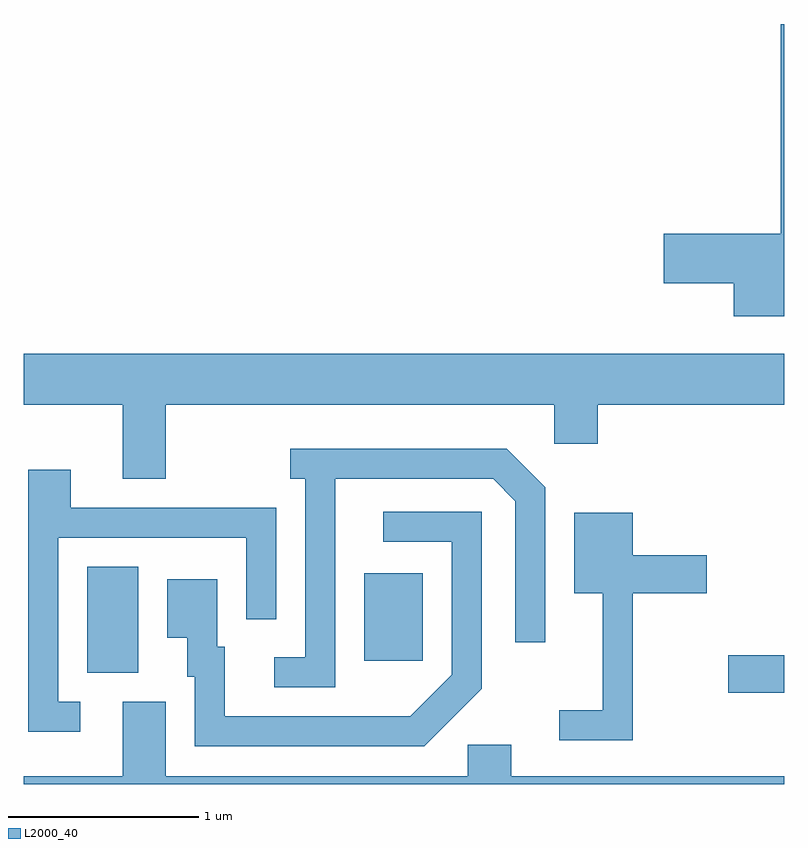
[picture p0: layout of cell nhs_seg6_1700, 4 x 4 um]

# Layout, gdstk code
import gdstk
lib = gdstk.Library(unit=1e-6, precision=1e-09)
def R(c, l, rs):  # rectangles x0, y0, x1, y1
    for r in rs: c.add(gdstk.rectangle(r[:2], r[2:], *l))
def P(c, l, *ps):  # polygons
    for p in ps: c.add(gdstk.Polygon(p, *l))
L2000_40 = (2000, 40)

nhs_seg6_1700 = lib.new_cell('nhs_seg6_1700')
R(nhs_seg6_1700, L2000_40, [(239.316,1650.641,239.611,1650.839), (235.946,1650.746,236.214,1651.304), (237.401,1650.811,237.709,1651.269)])
P(nhs_seg6_1700, L2000_40, [(239.611,1654.158),(239.591,1654.158),(239.591,1653.054),(238.976,1653.054),(238.976,1652.796),(239.346,1652.796),(239.346,1652.621),(239.611,1652.621)],
  [(236.359,1652.156),(238.401,1652.156),(238.401,1651.951),(238.629,1651.951),(238.629,1652.156),(239.611,1652.156),(239.611,1652.424),(235.611,1652.424),(235.611,1652.156),(236.131,1652.156),(236.131,1651.766),(236.359,1651.766)],
  [(237.249,1651.766),(238.079,1651.766),(238.196,1651.649),(238.196,1650.908),(238.354,1650.908),(238.354,1651.722),(238.152,1651.924),(237.013,1651.924),(237.013,1651.766),(237.091,1651.766),(237.091,1650.829),(236.928,1650.829),(236.928,1650.671),(237.249,1650.671)],
  [(235.908,1650.594),(235.794,1650.594),(235.794,1651.456),(236.781,1651.456),(236.781,1651.028),(236.939,1651.028),(236.939,1651.614),(235.859,1651.614),(235.859,1651.814),(235.636,1651.814),(235.636,1650.436),(235.908,1650.436)],
  [(238.019,1650.664),(238.019,1651.594),(237.503,1651.594),(237.503,1651.436),(237.861,1651.436),(237.861,1650.737),(237.644,1650.519),(236.669,1650.519),(236.669,1650.884),(236.629,1650.884),(236.629,1651.239),(236.366,1651.239),(236.366,1650.931),(236.471,1650.931),(236.471,1650.726),(236.511,1650.726),(236.511,1650.361),(237.717,1650.361)],
  [(238.814,1651.166),(239.204,1651.166),(239.204,1651.364),(238.814,1651.364),(238.814,1651.589),(238.506,1651.589),(238.506,1651.166),(238.656,1651.166),(238.656,1650.549),(238.428,1650.549),(238.428,1650.391),(238.814,1650.391)],
  [(236.131,1650.594),(236.131,1650.204),(235.611,1650.204),(235.611,1650.162),(239.611,1650.162),(239.611,1650.204),(238.174,1650.204),(238.174,1650.369),(237.946,1650.369),(237.946,1650.204),(236.359,1650.204),(236.359,1650.594)])

lib.write_gds('nhs_seg6_1700.gds')
